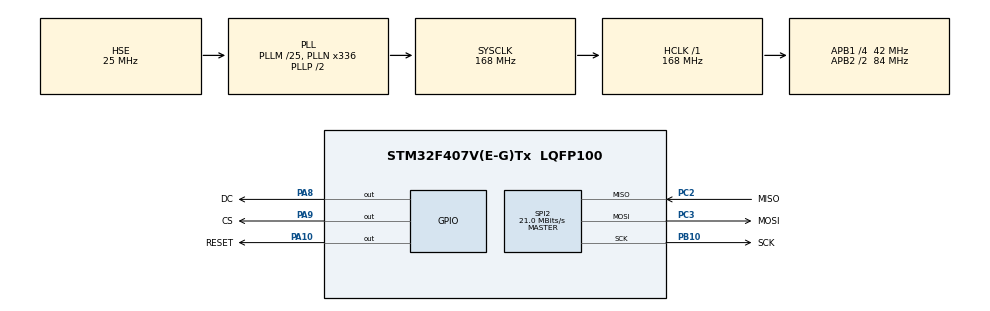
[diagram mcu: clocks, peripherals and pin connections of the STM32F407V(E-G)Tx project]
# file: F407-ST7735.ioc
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Mcu.Family=STM32F4
Mcu.Name=STM32F407V(E-G)Tx
Mcu.Package=LQFP100
NVIC.PriorityGroup=NVIC_PRIORITYGROUP_4
PA10.GPIO_Label=RESET
PA10.GPIO_Speed=GPIO_SPEED_FREQ_HIGH
PA10.PinState=GPIO_PIN_RESET
PA10.Signal=GPIO_Output
PA13.Mode=Serial_Wire
PA13.Signal=SYS_JTMS-SWDIO
PA14.Mode=Serial_Wire
PA14.Signal=SYS_JTCK-SWCLK
PA8.GPIO_Label=DC
PA8.GPIO_Speed=GPIO_SPEED_FREQ_HIGH
PA8.PinState=GPIO_PIN_RESET
PA8.Signal=GPIO_Output
PA9.GPIO_Label=CS
PA9.GPIO_Speed=GPIO_SPEED_FREQ_HIGH
PA9.PinState=GPIO_PIN_RESET
PA9.Signal=GPIO_Output
PB10.GPIO_Label=SCK
PB10.Mode=Full_Duplex_Master
PB10.Signal=SPI2_SCK
PC2.GPIO_Label=MISO
PC2.Mode=Full_Duplex_Master
PC2.Signal=SPI2_MISO
PC3.GPIO_Label=MOSI
PC3.Mode=Full_Duplex_Master
PC3.Signal=SPI2_MOSI
PH0-OSC_IN.Mode=HSE-External-Oscillator
PH0-OSC_IN.Signal=RCC_OSC_IN
PH1-OSC_OUT.Mode=HSE-External-Oscillator
PH1-OSC_OUT.Signal=RCC_OSC_OUT
ProjectManager.HeapSize=0x200
ProjectManager.StackSize=0x400
ProjectManager.TargetToolchain=STM32CubeIDE
RCC.48MHZClocksFreq_Value=48000000
RCC.AHBFreq_Value=168000000
RCC.APB1CLKDivider=RCC_HCLK_DIV4
RCC.APB1Freq_Value=42000000
RCC.APB1TimFreq_Value=84000000
RCC.APB2CLKDivider=RCC_HCLK_DIV2
RCC.APB2Freq_Value=84000000
RCC.APB2TimFreq_Value=168000000
RCC.CortexFreq_Value=168000000
RCC.HCLKFreq_Value=168000000
RCC.HSE_VALUE=25000000
RCC.HSI_VALUE=16000000
RCC.LSE_VALUE=32768
RCC.PLLM=25
RCC.PLLN=336
RCC.PLLQ=7
RCC.PLLSourceVirtual=RCC_PLLSOURCE_HSE
RCC.SYSCLKFreq_VALUE=168000000
RCC.SYSCLKSource=RCC_SYSCLKSOURCE_PLLCLK
RCC.VCOOutputFreq_Value=336000000
SPI2.BaudRatePrescaler=SPI_BAUDRATEPRESCALER_2
SPI2.CalculateBaudRate=21.0 MBits/s
SPI2.Direction=SPI_DIRECTION_2LINES
SPI2.Mode=SPI_MODE_MASTER
SPI2.VirtualType=VM_MASTER
VP_RNG_VS_RNG.Mode=RNG_Activate
board=custom

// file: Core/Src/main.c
/* USER CODE BEGIN Header */
/**
  ******************************************************************************
  * @file           : main.c
  * @brief          : Main program body
  ******************************************************************************
  * @attention
  *
  * <h2><center>&copy; Copyright (c) 2020 STMicroelectronics.
  * All rights reserved.</center></h2>
  *
  * This software component is licensed by ST under BSD 3-Clause license,
  * the "License"; You may not use this file except in compliance with the
  * License. You may obtain a copy of the License at:
  *                        opensource.org/licenses/BSD-3-Clause
  *
  ******************************************************************************
  */
/* USER CODE END Header */
#include "main.h"
#include "stdio.h"
/* USER CODE BEGIN Includes */
//#include "st7735.h"
#include "spi_ili9341.h"
#include "color565.h"
/* USER CODE END Includes */

RNG_HandleTypeDef hrng;

SPI_HandleTypeDef hspi2;

/* USER CODE BEGIN PV */
extern uint16_t TFT9341_WIDTH;
extern uint16_t TFT9341_HEIGHT;
/* USER CODE END PV */

void SystemClock_Config(void);
static void MX_GPIO_Init(void);
static void MX_RNG_Init(void);
static void MX_SPI2_Init(void);

/* USER CODE BEGIN 0 */
ST7735_Button button;
ST7735_ProgressBar pbar;
/* USER CODE END 0 */

int main(void)
{

  /* MCU Configuration--------------------------------------------------------*/

  /* Reset of all peripherals, Initializes the Flash interface and the Systick. */
  HAL_Init();

  /* Configure the system clock */
  SystemClock_Config();

  /* Initialize all configured peripherals */
  MX_GPIO_Init();
  MX_RNG_Init();
  MX_SPI2_Init();
  /* USER CODE BEGIN 2 */
  // Это работает
  ili9341_init(240,320);
//  ili9341_FillScreen(TFT9341_BLACK);

  /* USER CODE END 2 */

  /* Infinite loop */
  /* USER CODE BEGIN WHILE */
//  lcd7735_init();
//  ili9341_Init();
//  ili9341_DisplayOn();

  ili9341_SetRotation(1); //1 - albom, 0 portret
  HAL_Delay(100);
  ili7735_Button_StructInit(&button,110,200, "Go-Go", 7, &Font16, COLOR565_CORAL, COLOR565_NAVY, COLOR565_YELLOW, COLOR565_BLACK);
  ili7735_ProgressBar_Init(&pbar, 1, 220, 320-2, 15, COLOR565_GOLD, COLOR565_YELLOW, COLOR565_NAVY);

  ili9341_SetTextColor(COLOR565_GOLD);
  ili9341_SetBackColor(COLOR565_BLACK);
  ili9341_SetFont(&Font16);
  char buf[48];
  while (1)
  {
	  //ili9341_FillScreen(COLOR565_NAVY);
	  ili9341_FillScreen(COLOR565_BLACK);
	  //*
	  //ili9341_FillScreen(COLOR565_STEEL_BLUE);
/*
	    for(uint8_t i=0;i<100;i++)
	    {
	      ili9341_DrawCircle(HAL_RNG_GetRandomNumber(&hrng)%(ili9341_WIDTH-40)+20,
	                         HAL_RNG_GetRandomNumber(&hrng)%(ili9341_HEIGHT-40)+20,
	                         20,TFT9341_WHITE);
	      HAL_Delay(3);
	    }
	    HAL_Delay(500);
*/
	    //*/
//	    test_spi();
//	    HAL_Delay(3000);
	  	  ili9341_SetTextColor(COLOR565_NAVY);
	    ili9341_SetBackColor(COLOR565_CORAL);
	  	ili9341_FillRect(5, 200, 100, 218,COLOR565_CORAL);
	  	sprintf(buf,"Exit");
    	ili9341_String(7,202,buf);
	    ili7735_Button_Draw(&button);
    	ili9341_SetTextColor(COLOR565_GOLD);
	    ili9341_SetBackColor(COLOR565_BLACK);
	    ili7735_ProgressBar_SetProgress(&pbar,0);
	    for(uint16_t i=0;i<3;i++)
	    {
	      sprintf(buf,"BC: %d, TC: %d, W: %d, H: %d", lcdprop.BackColor, lcdprop.TextColor, lcdprop.pFont->Width, lcdprop.pFont->Height);
	      ili9341_String(1+i*20,(1+i*3)*lcdprop.pFont->Height,buf);
	      ili9341_String(1+i*20,(2+i*3)*lcdprop.pFont->Height,buf);
	      ili9341_String(1+i*20,(3+i*3)*lcdprop.pFont->Height,buf);
	      //ili9341_SetFont(&Font16);
	      //ili9341_SetFont(&Font12);
	      //ili9341_String(1,160,"ABCDEFGHIKLMNOPQRSTUVWXY 123456789");
	      //ili9341_SetFont(&Font8);
//	      ili9341_String(1,172,"ABCDEFGHIKLMNOPQRSTUVWXYZ 123456789ABCDEFGHIKL");
	      //HAL_Delay(1000);
	      ili7735_ProgressBar_SetProgress(&pbar,(i+1)*pbar.w/3);
	      if(i>0)
	    	  ili7735_Button_Destroy(&button);
	    }
      ili7735_ProgressBar_Destroy(&pbar);
	  //HAL_Delay(1000);
//	  led1_off();
//	  led2_on();
//	  HAL_Delay(500);
//	  spi_write("Hello", sizeof("Hello"));
//	led1_on();
//	  led2_off();
//	  HAL_Delay(1);
    /* USER CODE END WHILE */

  }
}

void SystemClock_Config(void)
{
  RCC_OscInitTypeDef RCC_OscInitStruct = {0};
  RCC_ClkInitTypeDef RCC_ClkInitStruct = {0};

  /** Configure the main internal regulator output voltage
  */
  __HAL_RCC_PWR_CLK_ENABLE();
  __HAL_PWR_VOLTAGESCALING_CONFIG(PWR_REGULATOR_VOLTAGE_SCALE1);
  /** Initializes the RCC Oscillators according to the specified parameters
  * in the RCC_OscInitTypeDef structure.
  */
  RCC_OscInitStruct.OscillatorType = RCC_OSCILLATORTYPE_HSE;
  RCC_OscInitStruct.HSEState = RCC_HSE_ON;
  RCC_OscInitStruct.PLL.PLLState = RCC_PLL_ON;
  RCC_OscInitStruct.PLL.PLLSource = RCC_PLLSOURCE_HSE;
  RCC_OscInitStruct.PLL.PLLM = 25;
  RCC_OscInitStruct.PLL.PLLN = 336;
  RCC_OscInitStruct.PLL.PLLP = RCC_PLLP_DIV2;
  RCC_OscInitStruct.PLL.PLLQ = 7;
  if (HAL_RCC_OscConfig(&RCC_OscInitStruct) != HAL_OK)
  {
    Error_Handler();
  }
  /** Initializes the CPU, AHB and APB buses clocks
  */
  RCC_ClkInitStruct.ClockType = RCC_CLOCKTYPE_HCLK|RCC_CLOCKTYPE_SYSCLK
                              |RCC_CLOCKTYPE_PCLK1|RCC_CLOCKTYPE_PCLK2;
  RCC_ClkInitStruct.SYSCLKSource = RCC_SYSCLKSOURCE_PLLCLK;
  RCC_ClkInitStruct.AHBCLKDivider = RCC_SYSCLK_DIV1;
  RCC_ClkInitStruct.APB1CLKDivider = RCC_HCLK_DIV4;
  RCC_ClkInitStruct.APB2CLKDivider = RCC_HCLK_DIV2;

  if (HAL_RCC_ClockConfig(&RCC_ClkInitStruct, FLASH_LATENCY_5) != HAL_OK)
  {
    Error_Handler();
  }
}

static void MX_RNG_Init(void)
{

  hrng.Instance = RNG;
  if (HAL_RNG_Init(&hrng) != HAL_OK)
  {
    Error_Handler();
  }

}

static void MX_SPI2_Init(void)
{

  /* SPI2 parameter configuration*/
  hspi2.Instance = SPI2;
  hspi2.Init.Mode = SPI_MODE_MASTER;
  hspi2.Init.Direction = SPI_DIRECTION_2LINES;
  hspi2.Init.DataSize = SPI_DATASIZE_8BIT;
  hspi2.Init.CLKPolarity = SPI_POLARITY_LOW;
  hspi2.Init.CLKPhase = SPI_PHASE_1EDGE;
  hspi2.Init.NSS = SPI_NSS_SOFT;
  hspi2.Init.BaudRatePrescaler = SPI_BAUDRATEPRESCALER_2;
  hspi2.Init.FirstBit = SPI_FIRSTBIT_MSB;
  hspi2.Init.TIMode = SPI_TIMODE_DISABLE;
  hspi2.Init.CRCCalculation = SPI_CRCCALCULATION_DISABLE;
  hspi2.Init.CRCPolynomial = 10;
  if (HAL_SPI_Init(&hspi2) != HAL_OK)
  {
    Error_Handler();
  }

}

static void MX_GPIO_Init(void)
{
  GPIO_InitTypeDef GPIO_InitStruct = {0};

  /* GPIO Ports Clock Enable */
  __HAL_RCC_GPIOH_CLK_ENABLE();
  __HAL_RCC_GPIOC_CLK_ENABLE();
  __HAL_RCC_GPIOB_CLK_ENABLE();
  __HAL_RCC_GPIOA_CLK_ENABLE();

  /*Configure GPIO pin Output Level */
  HAL_GPIO_WritePin(GPIOA, DC_Pin|CS_Pin|RESET_Pin, GPIO_PIN_RESET);

  /*Configure GPIO pins : DC_Pin CS_Pin RESET_Pin */
  GPIO_InitStruct.Pin = DC_Pin|CS_Pin|RESET_Pin;
  GPIO_InitStruct.Mode = GPIO_MODE_OUTPUT_PP;
  GPIO_InitStruct.Pull = GPIO_NOPULL;
  GPIO_InitStruct.Speed = GPIO_SPEED_FREQ_HIGH;
  HAL_GPIO_Init(GPIOA, &GPIO_InitStruct);

}

void Error_Handler(void)
{
}

/************************ (C) COPYRIGHT STMicroelectronics *****END OF FILE****/
